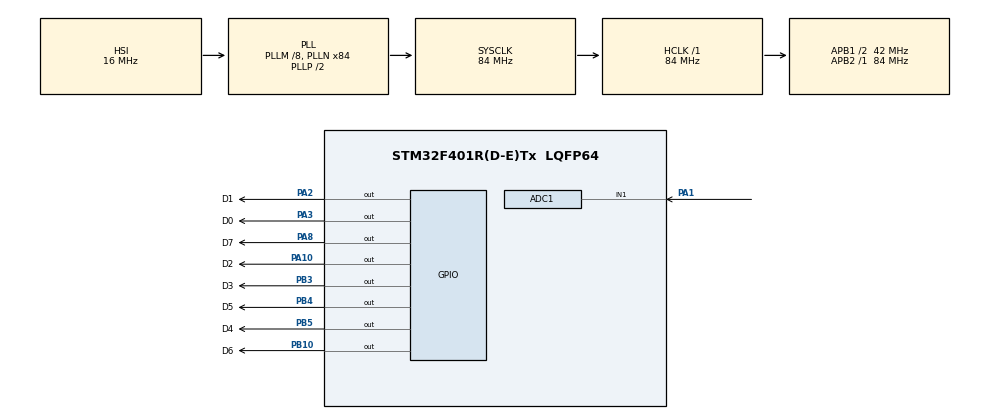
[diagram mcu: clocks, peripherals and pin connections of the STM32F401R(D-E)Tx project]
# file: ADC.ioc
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ADC1.Channel-3\#ChannelRegularConversion=ADC_CHANNEL_1
ADC1.ClockPrescaler=ADC_CLOCK_SYNC_PCLK_DIV4
ADC1.ContinuousConvMode=DISABLE
ADC1.InjNumberOfConversion=0
ADC1.NbrOfConversion=1
ADC1.NbrOfConversionFlag=1
ADC1.Rank-3\#ChannelRegularConversion=1
ADC1.SamplingTime-3\#ChannelRegularConversion=ADC_SAMPLETIME_480CYCLES
ADC1.ScanConvMode=DISABLE
ADC1.master=1
Mcu.Family=STM32F4
Mcu.Name=STM32F401R(D-E)Tx
Mcu.Package=LQFP64
NVIC.PriorityGroup=NVIC_PRIORITYGROUP_4
PA1.Signal=ADCx_IN1
PA10.GPIO_Label=D2
PA10.Signal=GPIO_Output
PA13.Mode=Serial_Wire
PA13.Signal=SYS_JTMS-SWDIO
PA14.Mode=Serial_Wire
PA14.Signal=SYS_JTCK-SWCLK
PA2.GPIO_Label=D1
PA2.Signal=GPIO_Output
PA3.GPIO_Label=D0
PA3.Signal=GPIO_Output
PA8.GPIO_Label=D7
PA8.Signal=GPIO_Output
PB10.GPIO_Label=D6
PB10.Signal=GPIO_Output
PB3.GPIO_Label=D3
PB3.Signal=GPIO_Output
PB4.GPIO_Label=D5
PB4.Signal=GPIO_Output
PB5.GPIO_Label=D4
PB5.Signal=GPIO_Output
ProjectManager.HeapSize=0x200
ProjectManager.StackSize=0x400
ProjectManager.TargetToolchain=STM32CubeIDE
RCC.48MHZClocksFreq_Value=42000000
RCC.AHBFreq_Value=84000000
RCC.APB1CLKDivider=RCC_HCLK_DIV2
RCC.APB1Freq_Value=42000000
RCC.APB1TimFreq_Value=84000000
RCC.APB2Freq_Value=84000000
RCC.APB2TimFreq_Value=84000000
RCC.CortexFreq_Value=84000000
RCC.HCLKFreq_Value=84000000
RCC.HSE_VALUE=25000000
RCC.HSI_VALUE=16000000
RCC.LSE_VALUE=32768
RCC.PLLM=8
RCC.PLLN=84
RCC.SYSCLKFreq_VALUE=84000000
RCC.SYSCLKSource=RCC_SYSCLKSOURCE_PLLCLK
RCC.VCOOutputFreq_Value=168000000
SH.ADCx_IN1.0=ADC1_IN1,IN1
board=custom

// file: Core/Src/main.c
/* USER CODE BEGIN Header */
/**
  ******************************************************************************
  * @file           : main.c
  * @brief          : Main program body
  ******************************************************************************
  * @attention
  *
  * <h2><center>&copy; Copyright (c) 2021 STMicroelectronics.
  * All rights reserved.</center></h2>
  *
  * This software component is licensed by ST under BSD 3-Clause license,
  * the "License"; You may not use this file except in compliance with the
  * License. You may obtain a copy of the License at:
  *                        opensource.org/licenses/BSD-3-Clause
  *
  ******************************************************************************
  */
/* USER CODE END Header */
#include "main.h"
#include "adc.h"
#include "gpio.h"

/* USER CODE BEGIN PV */
uint32_t adc;
float per_cent;
/* USER CODE END PV */

void SystemClock_Config(void);

int main(void)
{

  /* MCU Configuration--------------------------------------------------------*/

  /* Reset of all peripherals, Initializes the Flash interface and the Systick. */
  HAL_Init();

  /* Configure the system clock */
  SystemClock_Config();

  /* Initialize all configured peripherals */
  MX_GPIO_Init();
  MX_ADC1_Init();

  /* Infinite loop */
  /* USER CODE BEGIN WHILE */
  while (1)
  {

	  HAL_ADC_Start(&hadc1);
	  HAL_ADC_PollForConversion(&hadc1, HAL_MAX_DELAY);
	  adc = HAL_ADC_GetValue(&hadc1);
	  HAL_ADC_Stop(&hadc1);

	  per_cent = ((float)adc/4095.0)*100.0;

	  if(per_cent>= 0.0 && per_cent< 11.1)
	  {
		  HAL_GPIO_WritePin(D0_GPIO_Port, D0_Pin, GPIO_PIN_RESET);
		  HAL_GPIO_WritePin(D1_GPIO_Port, D1_Pin, GPIO_PIN_RESET);
		  HAL_GPIO_WritePin(D2_GPIO_Port, D2_Pin, GPIO_PIN_RESET);
		  HAL_GPIO_WritePin(D3_GPIO_Port, D3_Pin, GPIO_PIN_RESET);
		  HAL_GPIO_WritePin(D4_GPIO_Port, D4_Pin, GPIO_PIN_RESET);
		  HAL_GPIO_WritePin(D5_GPIO_Port, D5_Pin, GPIO_PIN_RESET);
		  HAL_GPIO_WritePin(D6_GPIO_Port, D6_Pin, GPIO_PIN_RESET);
		  HAL_GPIO_WritePin(D7_GPIO_Port, D7_Pin, GPIO_PIN_RESET);

	  }
	  else if(per_cent>= 11.1 && per_cent< 22.2)
	  {
		  HAL_GPIO_WritePin(D0_GPIO_Port, D0_Pin, GPIO_PIN_SET);
		  HAL_GPIO_WritePin(D1_GPIO_Port, D1_Pin, GPIO_PIN_RESET);
		  HAL_GPIO_WritePin(D2_GPIO_Port, D2_Pin, GPIO_PIN_RESET);
		  HAL_GPIO_WritePin(D3_GPIO_Port, D3_Pin, GPIO_PIN_RESET);
		  HAL_GPIO_WritePin(D4_GPIO_Port, D4_Pin, GPIO_PIN_RESET);
		  HAL_GPIO_WritePin(D5_GPIO_Port, D5_Pin, GPIO_PIN_RESET);
		  HAL_GPIO_WritePin(D6_GPIO_Port, D6_Pin, GPIO_PIN_RESET);
		  HAL_GPIO_WritePin(D7_GPIO_Port, D7_Pin, GPIO_PIN_RESET);
	  }
	  else if(per_cent>= 22.2 && per_cent< 33.3)
	  {
		  HAL_GPIO_WritePin(D0_GPIO_Port, D0_Pin, GPIO_PIN_RESET);
		  HAL_GPIO_WritePin(D1_GPIO_Port, D1_Pin, GPIO_PIN_SET);
		  HAL_GPIO_WritePin(D2_GPIO_Port, D2_Pin, GPIO_PIN_RESET);
		  HAL_GPIO_WritePin(D3_GPIO_Port, D3_Pin, GPIO_PIN_RESET);
		  HAL_GPIO_WritePin(D4_GPIO_Port, D4_Pin, GPIO_PIN_RESET);
		  HAL_GPIO_WritePin(D5_GPIO_Port, D5_Pin, GPIO_PIN_RESET);
		  HAL_GPIO_WritePin(D6_GPIO_Port, D6_Pin, GPIO_PIN_RESET);
		  HAL_GPIO_WritePin(D7_GPIO_Port, D7_Pin, GPIO_PIN_RESET);
	  }
	  else if(per_cent>= 33.3 && per_cent< 44.4)
	  {
		  HAL_GPIO_WritePin(D0_GPIO_Port, D0_Pin, GPIO_PIN_RESET);
		  HAL_GPIO_WritePin(D1_GPIO_Port, D1_Pin, GPIO_PIN_RESET);
		  HAL_GPIO_WritePin(D2_GPIO_Port, D2_Pin, GPIO_PIN_SET);
		  HAL_GPIO_WritePin(D3_GPIO_Port, D3_Pin, GPIO_PIN_RESET);
		  HAL_GPIO_WritePin(D4_GPIO_Port, D4_Pin, GPIO_PIN_RESET);
		  HAL_GPIO_WritePin(D5_GPIO_Port, D5_Pin, GPIO_PIN_RESET);
		  HAL_GPIO_WritePin(D6_GPIO_Port, D6_Pin, GPIO_PIN_RESET);
		  HAL_GPIO_WritePin(D7_GPIO_Port, D7_Pin, GPIO_PIN_RESET);
	  }
	  else if(per_cent>= 44.4 && per_cent< 55.5)
	  {
		  HAL_GPIO_WritePin(D0_GPIO_Port, D0_Pin, GPIO_PIN_RESET);
		  HAL_GPIO_WritePin(D1_GPIO_Port, D1_Pin, GPIO_PIN_RESET);
		  HAL_GPIO_WritePin(D2_GPIO_Port, D2_Pin, GPIO_PIN_RESET);
		  HAL_GPIO_WritePin(D3_GPIO_Port, D3_Pin, GPIO_PIN_SET);
		  HAL_GPIO_WritePin(D4_GPIO_Port, D4_Pin, GPIO_PIN_RESET);
		  HAL_GPIO_WritePin(D5_GPIO_Port, D5_Pin, GPIO_PIN_RESET);
		  HAL_GPIO_WritePin(D6_GPIO_Port, D6_Pin, GPIO_PIN_RESET);
		  HAL_GPIO_WritePin(D7_GPIO_Port, D7_Pin, GPIO_PIN_RESET);
	  }
	  else if(per_cent>= 55.5 && per_cent< 66.6)
	  {
		  HAL_GPIO_WritePin(D0_GPIO_Port, D0_Pin, GPIO_PIN_RESET);
		  HAL_GPIO_WritePin(D1_GPIO_Port, D1_Pin, GPIO_PIN_RESET);
		  HAL_GPIO_WritePin(D2_GPIO_Port, D2_Pin, GPIO_PIN_RESET);
		  HAL_GPIO_WritePin(D3_GPIO_Port, D3_Pin, GPIO_PIN_RESET);
		  HAL_GPIO_WritePin(D4_GPIO_Port, D4_Pin, GPIO_PIN_SET);
		  HAL_GPIO_WritePin(D5_GPIO_Port, D5_Pin, GPIO_PIN_RESET);
		  HAL_GPIO_WritePin(D6_GPIO_Port, D6_Pin, GPIO_PIN_RESET);
		  HAL_GPIO_WritePin(D7_GPIO_Port, D7_Pin, GPIO_PIN_RESET);
	  }
	  else if(per_cent>= 66.6 && per_cent< 77.7)
	  {
		  HAL_GPIO_WritePin(D0_GPIO_Port, D0_Pin, GPIO_PIN_RESET);
		  HAL_GPIO_WritePin(D1_GPIO_Port, D1_Pin, GPIO_PIN_RESET);
		  HAL_GPIO_WritePin(D2_GPIO_Port, D2_Pin, GPIO_PIN_RESET);
		  HAL_GPIO_WritePin(D3_GPIO_Port, D3_Pin, GPIO_PIN_RESET);
		  HAL_GPIO_WritePin(D4_GPIO_Port, D4_Pin, GPIO_PIN_RESET);
		  HAL_GPIO_WritePin(D5_GPIO_Port, D5_Pin, GPIO_PIN_SET);
		  HAL_GPIO_WritePin(D6_GPIO_Port, D6_Pin, GPIO_PIN_RESET);
		  HAL_GPIO_WritePin(D7_GPIO_Port, D7_Pin, GPIO_PIN_RESET);
	  }
	  else if(per_cent>= 77.7 && per_cent< 88.8)
	  {
		  HAL_GPIO_WritePin(D0_GPIO_Port, D0_Pin, GPIO_PIN_RESET);
		  HAL_GPIO_WritePin(D1_GPIO_Port, D1_Pin, GPIO_PIN_RESET);
		  HAL_GPIO_WritePin(D2_GPIO_Port, D2_Pin, GPIO_PIN_RESET);
		  HAL_GPIO_WritePin(D3_GPIO_Port, D3_Pin, GPIO_PIN_RESET);
		  HAL_GPIO_WritePin(D4_GPIO_Port, D4_Pin, GPIO_PIN_RESET);
		  HAL_GPIO_WritePin(D5_GPIO_Port, D5_Pin, GPIO_PIN_RESET);
		  HAL_GPIO_WritePin(D6_GPIO_Port, D6_Pin, GPIO_PIN_SET);
		  HAL_GPIO_WritePin(D7_GPIO_Port, D7_Pin, GPIO_PIN_RESET);
	  }
	  else if(per_cent>= 88.8 && per_cent< 100.0)
	  {
		  HAL_GPIO_WritePin(D0_GPIO_Port, D0_Pin, GPIO_PIN_RESET);
		  HAL_GPIO_WritePin(D1_GPIO_Port, D1_Pin, GPIO_PIN_RESET);
		  HAL_GPIO_WritePin(D2_GPIO_Port, D2_Pin, GPIO_PIN_RESET);
		  HAL_GPIO_WritePin(D3_GPIO_Port, D3_Pin, GPIO_PIN_RESET);
		  HAL_GPIO_WritePin(D4_GPIO_Port, D4_Pin, GPIO_PIN_RESET);
		  HAL_GPIO_WritePin(D5_GPIO_Port, D5_Pin, GPIO_PIN_RESET);
		  HAL_GPIO_WritePin(D6_GPIO_Port, D6_Pin, GPIO_PIN_RESET);
		  HAL_GPIO_WritePin(D7_GPIO_Port, D7_Pin, GPIO_PIN_SET);
	  }

    /* USER CODE END WHILE */

  }
}

void SystemClock_Config(void)
{
  RCC_OscInitTypeDef RCC_OscInitStruct = {0};
  RCC_ClkInitTypeDef RCC_ClkInitStruct = {0};

  /** Configure the main internal regulator output voltage
  */
  __HAL_RCC_PWR_CLK_ENABLE();
  __HAL_PWR_VOLTAGESCALING_CONFIG(PWR_REGULATOR_VOLTAGE_SCALE2);
  /** Initializes the RCC Oscillators according to the specified parameters
  * in the RCC_OscInitTypeDef structure.
  */
  RCC_OscInitStruct.OscillatorType = RCC_OSCILLATORTYPE_HSI;
  RCC_OscInitStruct.HSIState = RCC_HSI_ON;
  RCC_OscInitStruct.HSICalibrationValue = RCC_HSICALIBRATION_DEFAULT;
  RCC_OscInitStruct.PLL.PLLState = RCC_PLL_ON;
  RCC_OscInitStruct.PLL.PLLSource = RCC_PLLSOURCE_HSI;
  RCC_OscInitStruct.PLL.PLLM = 8;
  RCC_OscInitStruct.PLL.PLLN = 84;
  RCC_OscInitStruct.PLL.PLLP = RCC_PLLP_DIV2;
  RCC_OscInitStruct.PLL.PLLQ = 4;
  if (HAL_RCC_OscConfig(&RCC_OscInitStruct) != HAL_OK)
  {
    Error_Handler();
  }
  /** Initializes the CPU, AHB and APB buses clocks
  */
  RCC_ClkInitStruct.ClockType = RCC_CLOCKTYPE_HCLK|RCC_CLOCKTYPE_SYSCLK
                              |RCC_CLOCKTYPE_PCLK1|RCC_CLOCKTYPE_PCLK2;
  RCC_ClkInitStruct.SYSCLKSource = RCC_SYSCLKSOURCE_PLLCLK;
  RCC_ClkInitStruct.AHBCLKDivider = RCC_SYSCLK_DIV1;
  RCC_ClkInitStruct.APB1CLKDivider = RCC_HCLK_DIV2;
  RCC_ClkInitStruct.APB2CLKDivider = RCC_HCLK_DIV1;

  if (HAL_RCC_ClockConfig(&RCC_ClkInitStruct, FLASH_LATENCY_2) != HAL_OK)
  {
    Error_Handler();
  }
}

void Error_Handler(void)
{
  __disable_irq();
  while (1)
  {
  }
}

/************************ (C) COPYRIGHT STMicroelectronics *****END OF FILE****/
